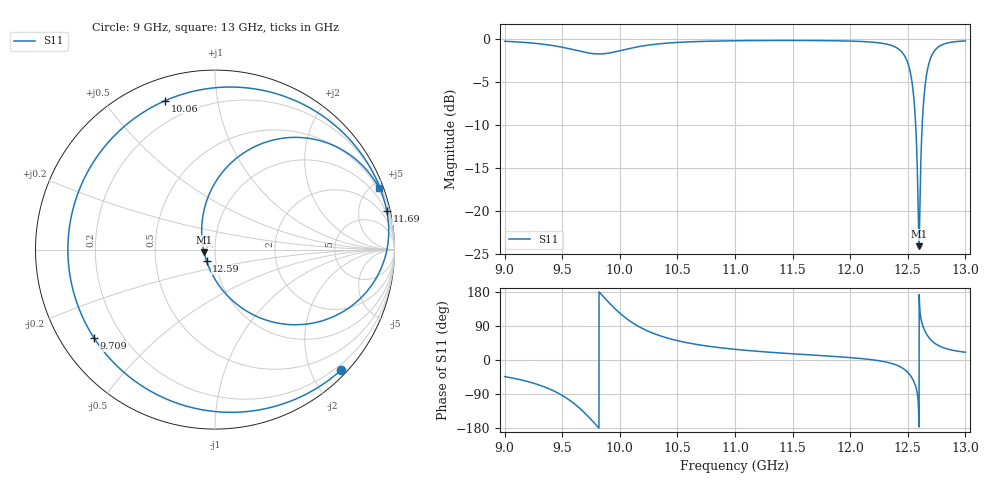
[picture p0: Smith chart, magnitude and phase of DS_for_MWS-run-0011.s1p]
! TOUCHSTONE file generated by CST DESIGN STUDIO
! Date and time: Tue Feb  4 16:13:24 2025
! Project name: C:\Work\MatlabApps\UnitCellOptimizationMatlab\CST\unitcell.cst
! Tree item: Tasks\Sweep1\SPara1\S-Parameters
! Header version: 2024
! Port assignment regex: !\s*Touchstone port\s*([0-9]+)\s*=\s*(CST MWS port|CST DES external port|CST DES block port)\s*(.+)\s* \(\"(.*)\"\)(\s*mode\s*([0-9]+))?.*
! Touchstone port assignment:
! Touchstone port 1 = CST DES external port 1 ("")
# GHz S MA R 50
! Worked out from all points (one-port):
!   4001 points, 9 GHz to 13 GHz, reference 50 ohm
!   lowest |S11| = -24.1 dB at 12.6 GHz (marker M1), VSWR 1.13, Z = 44.3 - j1.39 ohm
!   |S11| at or under -10 dB: 12.56844 GHz to 12.62491 GHz (56.47 MHz wide, 0.448 % of centre)
!   S11 on the Smith chart (normalised r, x): 9 GHz: 0.10, -2.49; 9.709 GHz: 0.10, -0.32; 10.06 GHz: 0.10, +0.72; 11.69 GHz: 0.78, +8.92; 12.59 GHz: 0.90, -0.11; 13 GHz: 0.38, +5.52
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9  0.9716 -43.7
9.277  0.9432 -63.7
9.5  0.897 -93.5
9.61  0.8639 -116.6
9.709  0.8346 -143.9
9.78  0.8217 -166.7
9.846  0.8208 171.0
10  0.8555 123.7
10.062  0.8751 108.4
10.269  0.9269 73.0
10.5  0.9564 51.1
11  0.978 28.2
11.5  0.9819 16.4
11.693  0.9809 12.7
12  0.974 6.3
12.361  0.9172 -9.2
12.443  0.849 -19.2
12.5  0.7271 -32.6
12.552  0.4567 -56.5
12.593  0.07867 -126.9
12.597  0.06262 -165.5
12.609  0.1505 119.3
12.627  0.337 93.3
12.642  0.4731 81.0
12.69  0.7479 56.6
12.738  0.8653 43.2
12.798  0.9267 33.7
13  0.9764 20.4
